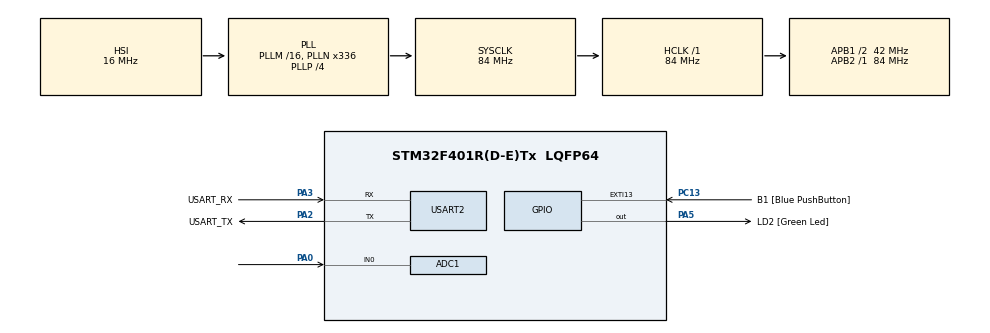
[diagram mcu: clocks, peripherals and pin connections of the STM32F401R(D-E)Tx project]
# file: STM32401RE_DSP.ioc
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ADC1.Channel-0\#ChannelRegularConversion=ADC_CHANNEL_0
ADC1.NbrOfConversionFlag=1
ADC1.Rank-0\#ChannelRegularConversion=1
ADC1.SamplingTime-0\#ChannelRegularConversion=ADC_SAMPLETIME_3CYCLES
ADC1.master=1
Mcu.Family=STM32F4
Mcu.Name=STM32F401R(D-E)Tx
Mcu.Package=LQFP64
NVIC.PriorityGroup=NVIC_PRIORITYGROUP_4
PA0-WKUP.Signal=ADCx_IN0
PA13.GPIO_Label=TMS
PA13.Mode=Serial_Wire
PA13.Signal=SYS_JTMS-SWDIO
PA14.GPIO_Label=TCK
PA14.Mode=Serial_Wire
PA14.Signal=SYS_JTCK-SWCLK
PA2.GPIO_Label=USART_TX
PA2.GPIO_Mode=GPIO_MODE_AF_PP
PA2.GPIO_PuPd=GPIO_NOPULL
PA2.GPIO_Speed=GPIO_SPEED_FREQ_LOW
PA2.Mode=Asynchronous
PA2.Signal=USART2_TX
PA3.GPIO_Label=USART_RX
PA3.GPIO_Mode=GPIO_MODE_AF_PP
PA3.GPIO_PuPd=GPIO_NOPULL
PA3.GPIO_Speed=GPIO_SPEED_FREQ_LOW
PA3.Mode=Asynchronous
PA3.Signal=USART2_RX
PA5.GPIO_Label=LD2 [Green Led]
PA5.GPIO_Mode=GPIO_MODE_OUTPUT_PP
PA5.GPIO_PuPd=GPIO_NOPULL
PA5.GPIO_Speed=GPIO_SPEED_FREQ_LOW
PA5.Signal=GPIO_Output
PB3.GPIO_Label=SWO
PB3.Signal=SYS_JTDO-SWO
PC13-ANTI_TAMP.GPIO_Label=B1 [Blue PushButton]
PC13-ANTI_TAMP.GPIO_ModeDefaultEXTI=GPIO_MODE_IT_FALLING
PC13-ANTI_TAMP.GPIO_PuPd=GPIO_NOPULL
PC13-ANTI_TAMP.Signal=GPXTI13
PC14-OSC32_IN.Mode=LSE-External-Oscillator
PC14-OSC32_IN.Signal=RCC_OSC32_IN
PC15-OSC32_OUT.Mode=LSE-External-Oscillator
PC15-OSC32_OUT.Signal=RCC_OSC32_OUT
PH0\ -\ OSC_IN.Mode=HSE-External-Clock-Source
PH0\ -\ OSC_IN.Signal=RCC_OSC_IN
PH1\ -\ OSC_OUT.Mode=HSE-External-Clock-Source
PH1\ -\ OSC_OUT.Signal=RCC_OSC_OUT
ProjectManager.HeapSize=0x1000
ProjectManager.StackSize=0x1000
ProjectManager.TargetToolchain=STM32CubeIDE
RCC.48MHZClocksFreq_Value=48000000
RCC.AHBFreq_Value=84000000
RCC.APB1CLKDivider=RCC_HCLK_DIV2
RCC.APB1Freq_Value=42000000
RCC.APB1TimFreq_Value=84000000
RCC.APB2Freq_Value=84000000
RCC.APB2TimFreq_Value=84000000
RCC.CortexFreq_Value=84000000
RCC.HCLKFreq_Value=84000000
RCC.HSE_VALUE=8000000
RCC.HSI_VALUE=16000000
RCC.PLLN=336
RCC.PLLP=RCC_PLLP_DIV4
RCC.PLLQ=7
RCC.SYSCLKFreq_VALUE=84000000
RCC.SYSCLKSource=RCC_SYSCLKSOURCE_PLLCLK
RCC.VCOOutputFreq_Value=336000000
SH.ADCx_IN0.0=ADC1_IN0,IN0
TIM5.Period=0xFFFFFFFF
TIM5.Prescaler=83
USART2.VirtualMode=VM_ASYNC
VP_ADC1_TempSens_Input.Mode=IN-TempSens
VP_ADC1_Vref_Input.Mode=IN-Vrefint
VP_RTC_VS_RTC_Activate.Mode=RTC_Enabled
VP_TIM5_VS_ClockSourceINT.Mode=Internal
board=NUCLEO-F401RE

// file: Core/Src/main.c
/* USER CODE BEGIN Header */
/**
  ******************************************************************************
  * @file           : main.c
  * @brief          : Main program body
  ******************************************************************************
  * @attention
  *
  * Copyright (c) 2025 STMicroelectronics.
  * All rights reserved.
  *
  * This software is licensed under terms that can be found in the LICENSE file
  * in the root directory of this software component.
  * If no LICENSE file comes with this software, it is provided AS-IS.
  *
  ******************************************************************************
  */
/* USER CODE END Header */
#include "main.h"

/* USER CODE BEGIN Includes */
#include "stdio.h"
#include "string.h"
#include "dsp_test.h"
#include "NanoEdgeAI.h"
#include "knowledge.h"
/* USER CODE END Includes */

/* USER CODE BEGIN PM */
#define DATA_ROWS 495
/* USER CODE END PM */

ADC_HandleTypeDef hadc1;

RTC_HandleTypeDef hrtc;

TIM_HandleTypeDef htim5;

UART_HandleTypeDef huart2;

/* USER CODE BEGIN PV */
extern  dsp_fn dsp_tests[];
extern const float signal_data[DATA_ROWS][DATA_INPUT_USER];
extern float buffer0_128[DATA_INPUT_USER];
int total_outliers = 0;
int total_pass = 0;
/* USER CODE END PV */

void SystemClock_Config(void);
static void MX_GPIO_Init(void);
static void MX_USART2_UART_Init(void);
static void MX_ADC1_Init(void);
static void MX_TIM5_Init(void);
static void MX_RTC_Init(void);
/* USER CODE BEGIN PFP */
void inference();

/* USER CODE END PFP */

int main(void)
{

  /* MCU Configuration--------------------------------------------------------*/

  /* Reset of all peripherals, Initializes the Flash interface and the Systick. */
  HAL_Init();

  /* Configure the system clock */
  SystemClock_Config();

  /* Initialize all configured peripherals */
  MX_GPIO_Init();
  MX_USART2_UART_Init();
  MX_ADC1_Init();
  MX_TIM5_Init();
  MX_RTC_Init();

  /* Infinite loop */
  /* USER CODE BEGIN WHILE */

#ifdef SIGNAL_FORMAT
 for(int i=0; i < 100; i++) {
  dsp_tests[DSP_TEST_VOLTAGE]();
  dsp_tests[DSP_TEST_POWER_DRAW]();
  dsp_tests[DSP_TEST_MCU_CORE_TEMP]();
  dsp_tests[DSP_TEST_LOOP_JITTER]();
  dsp_tests[DSP_TEST_CLOCK_DRIFT]();
 }
#endif
#ifdef DSP_TEST
  dsp_tests[DSP_TEST_VOLTAGE]();
  dsp_tests[DSP_TEST_TEMPERATURE]();
  dsp_tests[DSP_TEST_CPU_LOAD]();
  dsp_tests[DSP_TEST_RAM_USAGE]();
  dsp_tests[DSP_TEST_POWER_DRAW]();
  dsp_tests[DSP_TEST_MCU_CORE_TEMP]();
  dsp_tests[DSP_TEST_LOOP_JITTER]();
  dsp_tests[DSP_TEST_UART_TRAFFIC]();
  dsp_tests[DSP_TEST_ADC_NOISE_FLOOR]();
  dsp_tests[DSP_TEST_CLOCK_DRIFT]();
#endif
#ifdef INFERENCE_TEST
  enum neai_state status = neai_oneclass_init(knowledge);
    if(status != NEAI_OK) {
  	  printf("neai_anomalydetection_init failed %d\r\n", status);
  	  return 0;
    }

    	inference();
#endif

#ifdef SELF_DIAG_MODE
  enum neai_state status = neai_oneclass_init(knowledge);
	if(status != NEAI_OK) {
	  printf("neai_anomalydetection_init failed %d\r\n", status);
	  return 0;
	}
	dsp_tests[DSP_TEST_VOLTAGE]();
	dsp_tests[DSP_TEST_TEMPERATURE]();
	dsp_tests[DSP_TEST_CPU_LOAD]();
	dsp_tests[DSP_TEST_RAM_USAGE]();
	dsp_tests[DSP_TEST_POWER_DRAW]();
	dsp_tests[DSP_TEST_MCU_CORE_TEMP]();
	dsp_tests[DSP_TEST_LOOP_JITTER]();
	dsp_tests[DSP_TEST_CLOCK_DRIFT]();// takes a long time

	printf("================================DIAGNOSTIC RESULTS BEGIN===================================================\n");
	printf("Total Outliers: %d, Total Pass: %d\n", total_outliers, total_pass);
	printf("================================DIAGNOSTIC RESULTS END=====================================================\n");
	total_outliers = 0;
	total_pass = 0;
#endif
  while (1)
  {
    /* USER CODE END WHILE */

  }
}

void SystemClock_Config(void)
{
  RCC_OscInitTypeDef RCC_OscInitStruct = {0};
  RCC_ClkInitTypeDef RCC_ClkInitStruct = {0};

  /** Configure the main internal regulator output voltage
  */
  __HAL_RCC_PWR_CLK_ENABLE();
  __HAL_PWR_VOLTAGESCALING_CONFIG(PWR_REGULATOR_VOLTAGE_SCALE2);

  /** Initializes the RCC Oscillators according to the specified parameters
  * in the RCC_OscInitTypeDef structure.
  */
  RCC_OscInitStruct.OscillatorType = RCC_OSCILLATORTYPE_HSI|RCC_OSCILLATORTYPE_LSI;
  RCC_OscInitStruct.HSIState = RCC_HSI_ON;
  RCC_OscInitStruct.HSICalibrationValue = RCC_HSICALIBRATION_DEFAULT;
  RCC_OscInitStruct.LSIState = RCC_LSI_ON;
  RCC_OscInitStruct.PLL.PLLState = RCC_PLL_ON;
  RCC_OscInitStruct.PLL.PLLSource = RCC_PLLSOURCE_HSI;
  RCC_OscInitStruct.PLL.PLLM = 16;
  RCC_OscInitStruct.PLL.PLLN = 336;
  RCC_OscInitStruct.PLL.PLLP = RCC_PLLP_DIV4;
  RCC_OscInitStruct.PLL.PLLQ = 7;
  if (HAL_RCC_OscConfig(&RCC_OscInitStruct) != HAL_OK)
  {
    Error_Handler();
  }

  /** Initializes the CPU, AHB and APB buses clocks
  */
  RCC_ClkInitStruct.ClockType = RCC_CLOCKTYPE_HCLK|RCC_CLOCKTYPE_SYSCLK
                              |RCC_CLOCKTYPE_PCLK1|RCC_CLOCKTYPE_PCLK2;
  RCC_ClkInitStruct.SYSCLKSource = RCC_SYSCLKSOURCE_PLLCLK;
  RCC_ClkInitStruct.AHBCLKDivider = RCC_SYSCLK_DIV1;
  RCC_ClkInitStruct.APB1CLKDivider = RCC_HCLK_DIV2;
  RCC_ClkInitStruct.APB2CLKDivider = RCC_HCLK_DIV1;

  if (HAL_RCC_ClockConfig(&RCC_ClkInitStruct, FLASH_LATENCY_2) != HAL_OK)
  {
    Error_Handler();
  }
}

static void MX_ADC1_Init(void)
{

  ADC_ChannelConfTypeDef sConfig = {0};

  /** Configure the global features of the ADC (Clock, Resolution, Data Alignment and number of conversion)
  */
  hadc1.Instance = ADC1;
  hadc1.Init.ClockPrescaler = ADC_CLOCK_SYNC_PCLK_DIV4;
  hadc1.Init.Resolution = ADC_RESOLUTION_12B;
  hadc1.Init.ScanConvMode = DISABLE;
  hadc1.Init.ContinuousConvMode = DISABLE;
  hadc1.Init.DiscontinuousConvMode = DISABLE;
  hadc1.Init.ExternalTrigConvEdge = ADC_EXTERNALTRIGCONVEDGE_NONE;
  hadc1.Init.ExternalTrigConv = ADC_SOFTWARE_START;
  hadc1.Init.DataAlign = ADC_DATAALIGN_RIGHT;
  hadc1.Init.NbrOfConversion = 1;
  hadc1.Init.DMAContinuousRequests = DISABLE;
  hadc1.Init.EOCSelection = ADC_EOC_SINGLE_CONV;
  if (HAL_ADC_Init(&hadc1) != HAL_OK)
  {
    Error_Handler();
  }

  /** Configure for the selected ADC regular channel its corresponding rank in the sequencer and its sample time.
  */
  sConfig.Channel = ADC_CHANNEL_0;
  sConfig.Rank = 1;
  sConfig.SamplingTime = ADC_SAMPLETIME_3CYCLES;
  if (HAL_ADC_ConfigChannel(&hadc1, &sConfig) != HAL_OK)
  {
    Error_Handler();
  }

}

static void MX_RTC_Init(void)
{

  /** Initialize RTC Only
  */
  hrtc.Instance = RTC;
  hrtc.Init.HourFormat = RTC_HOURFORMAT_24;
  hrtc.Init.AsynchPrediv = 127;
  hrtc.Init.SynchPrediv = 255;
  hrtc.Init.OutPut = RTC_OUTPUT_DISABLE;
  hrtc.Init.OutPutPolarity = RTC_OUTPUT_POLARITY_HIGH;
  hrtc.Init.OutPutType = RTC_OUTPUT_TYPE_OPENDRAIN;
  if (HAL_RTC_Init(&hrtc) != HAL_OK)
  {
    Error_Handler();
  }

}

static void MX_TIM5_Init(void)
{

  TIM_ClockConfigTypeDef sClockSourceConfig = {0};
  TIM_MasterConfigTypeDef sMasterConfig = {0};

  htim5.Instance = TIM5;
  htim5.Init.Prescaler = 83;
  htim5.Init.CounterMode = TIM_COUNTERMODE_UP;
  htim5.Init.Period = 0xFFFFFFFF;
  htim5.Init.ClockDivision = TIM_CLOCKDIVISION_DIV1;
  htim5.Init.AutoReloadPreload = TIM_AUTORELOAD_PRELOAD_DISABLE;
  if (HAL_TIM_Base_Init(&htim5) != HAL_OK)
  {
    Error_Handler();
  }
  sClockSourceConfig.ClockSource = TIM_CLOCKSOURCE_INTERNAL;
  if (HAL_TIM_ConfigClockSource(&htim5, &sClockSourceConfig) != HAL_OK)
  {
    Error_Handler();
  }
  sMasterConfig.MasterOutputTrigger = TIM_TRGO_RESET;
  sMasterConfig.MasterSlaveMode = TIM_MASTERSLAVEMODE_DISABLE;
  if (HAL_TIMEx_MasterConfigSynchronization(&htim5, &sMasterConfig) != HAL_OK)
  {
    Error_Handler();
  }
  /* USER CODE BEGIN TIM5_Init 2 */
  HAL_TIM_Base_Start(&htim5);  // ✅ Start TIM5 here
  /* USER CODE END TIM5_Init 2 */

}

static void MX_USART2_UART_Init(void)
{

  huart2.Instance = USART2;
  huart2.Init.BaudRate = 115200;
  huart2.Init.WordLength = UART_WORDLENGTH_8B;
  huart2.Init.StopBits = UART_STOPBITS_1;
  huart2.Init.Parity = UART_PARITY_NONE;
  huart2.Init.Mode = UART_MODE_TX_RX;
  huart2.Init.HwFlowCtl = UART_HWCONTROL_NONE;
  huart2.Init.OverSampling = UART_OVERSAMPLING_16;
  if (HAL_UART_Init(&huart2) != HAL_OK)
  {
    Error_Handler();
  }

}

static void MX_GPIO_Init(void)
{
  GPIO_InitTypeDef GPIO_InitStruct = {0};

  /* GPIO Ports Clock Enable */
  __HAL_RCC_GPIOC_CLK_ENABLE();
  __HAL_RCC_GPIOH_CLK_ENABLE();
  __HAL_RCC_GPIOA_CLK_ENABLE();
  __HAL_RCC_GPIOB_CLK_ENABLE();

  /*Configure GPIO pin Output Level */
  HAL_GPIO_WritePin(LD2_GPIO_Port, LD2_Pin, GPIO_PIN_RESET);

  /*Configure GPIO pin : B1_Pin */
  GPIO_InitStruct.Pin = B1_Pin;
  GPIO_InitStruct.Mode = GPIO_MODE_IT_FALLING;
  GPIO_InitStruct.Pull = GPIO_NOPULL;
  HAL_GPIO_Init(B1_GPIO_Port, &GPIO_InitStruct);

  /*Configure GPIO pin : LD2_Pin */
  GPIO_InitStruct.Pin = LD2_Pin;
  GPIO_InitStruct.Mode = GPIO_MODE_OUTPUT_PP;
  GPIO_InitStruct.Pull = GPIO_NOPULL;
  GPIO_InitStruct.Speed = GPIO_SPEED_FREQ_LOW;
  HAL_GPIO_Init(LD2_GPIO_Port, &GPIO_InitStruct);

}

/* USER CODE BEGIN 4 */
int _write(int file, char *ptr, int len) {
	gather_tx_stats(ptr, len);
    HAL_UART_Transmit(&huart2, (uint8_t*)ptr, len, HAL_MAX_DELAY);
    return len;
}

#ifdef INFERENCE_TEST
void inference()
{
	total_outliers = 0;

	struct ru_vec vinf_call;
	ru_vec_init(&vinf_call, buffer0_128, 128, 128);

	int i=0;
	  for (; i < DATA_ROWS; i++) {
	      uint8_t is_outlier= 0;
	      memcpy(vinf_call.pbuf, signal_data[i], 128 * sizeof(float));
	      enum neai_state status = neai_oneclass(vinf_call.pbuf, &is_outlier);
	      if(is_outlier) {
	    	  total_outliers++;
	      }
	      printf("Row %d, neai_state = %d, is_outlier = %d\r\n", i, status, is_outlier);
	  }

	  printf("Total Rows: %d, Total Outliers %d\r\n", i, total_outliers);
}
#endif
#ifdef SELF_DIAG_MODE

void one_inference(float inf_buf[128], const char* msg) // call
{
	uint8_t  is_outlier = 0;
	enum neai_state status = neai_oneclass(inf_buf, &is_outlier);
	  if(is_outlier) {
		  total_outliers++;
		  printf("neai_state = %d, is_outlier = %d, %s\r\n", status, is_outlier, msg);
		  for(int i=0; i <128; i++) {
			  printf("%8.5f ", inf_buf[i]);
		  }
	  } else {
		  total_pass++;
	  }

}
#endif
/* USER CODE END 4 */

void Error_Handler(void)
{
  __disable_irq();
  while (1)
  {
  }
}
